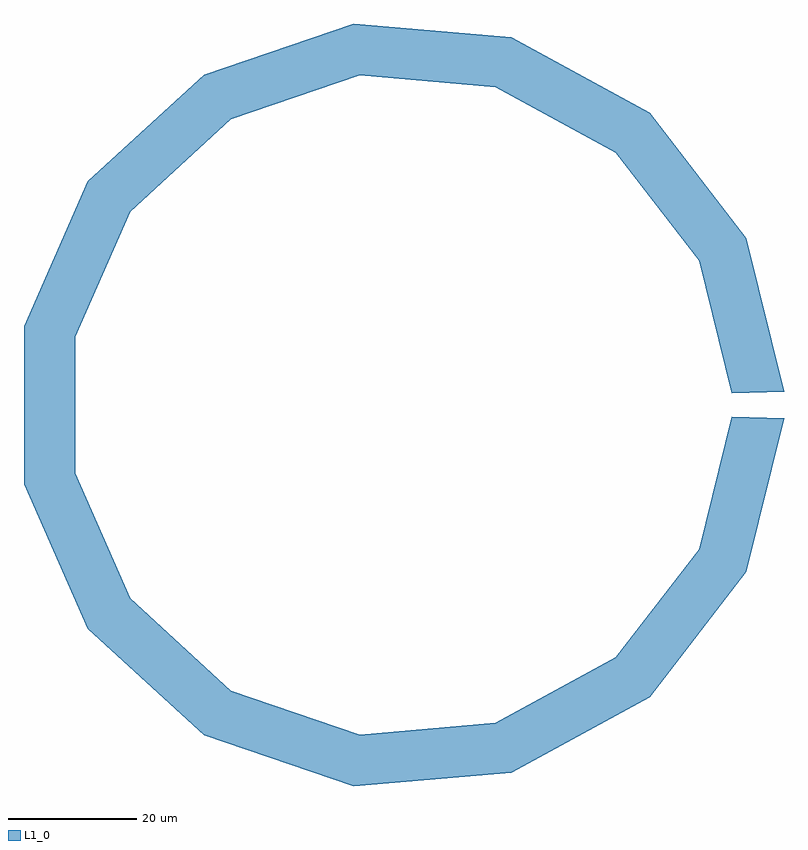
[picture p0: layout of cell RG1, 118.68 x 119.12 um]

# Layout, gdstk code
import gdstk
lib = gdstk.Library(unit=1e-6, precision=1e-09)
def P(c, l, *ps):  # polygons
    for p in ps: c.add(gdstk.Polygon(p, *l))
L1_0 = (1, 0)

rg1 = lib.new_cell('RG1')
P(rg1, L1_0, [(311.15,261.37),(306.04,282.07),(313.39,285.61),(319.3,261.65)],
  [(306.04,282.07),(293.03,298.96),(298.33,305.16),(313.39,285.61)],
  [(293.03,298.96),(274.32,309.19),(276.68,317),(298.33,305.16)],
  [(274.32,309.19),(253.08,311.02),(252.09,319.12),(276.68,317)],
  [(232.89,304.15),(228.73,311.17),(252.09,319.12),(253.08,311.02)],
  [(217.18,289.74),(210.55,294.48),(228.73,311.17),(232.89,304.15)],
  [(208.6,270.22),(200.62,271.89),(210.55,294.48),(217.18,289.74)],
  [(200.62,247.22),(200.62,271.89),(208.6,270.22),(208.6,248.9)],
  [(210.55,224.63),(200.62,247.22),(208.6,248.9),(217.18,229.38)],
  [(228.73,207.95),(210.55,224.63),(217.18,229.38),(232.89,214.96)],
  [(252.09,200),(228.73,207.95),(232.89,214.96),(253.08,208.09)],
  [(252.09,200),(253.08,208.09),(274.32,209.93),(276.68,202.12)],
  [(276.68,202.12),(274.32,209.93),(293.03,220.15),(298.33,213.95)],
  [(298.33,213.95),(293.03,220.15),(306.04,237.05),(313.39,233.51)],
  [(313.39,233.51),(306.04,237.05),(311.15,257.75),(319.3,257.46)])

lib.write_gds('RG1.gds')
